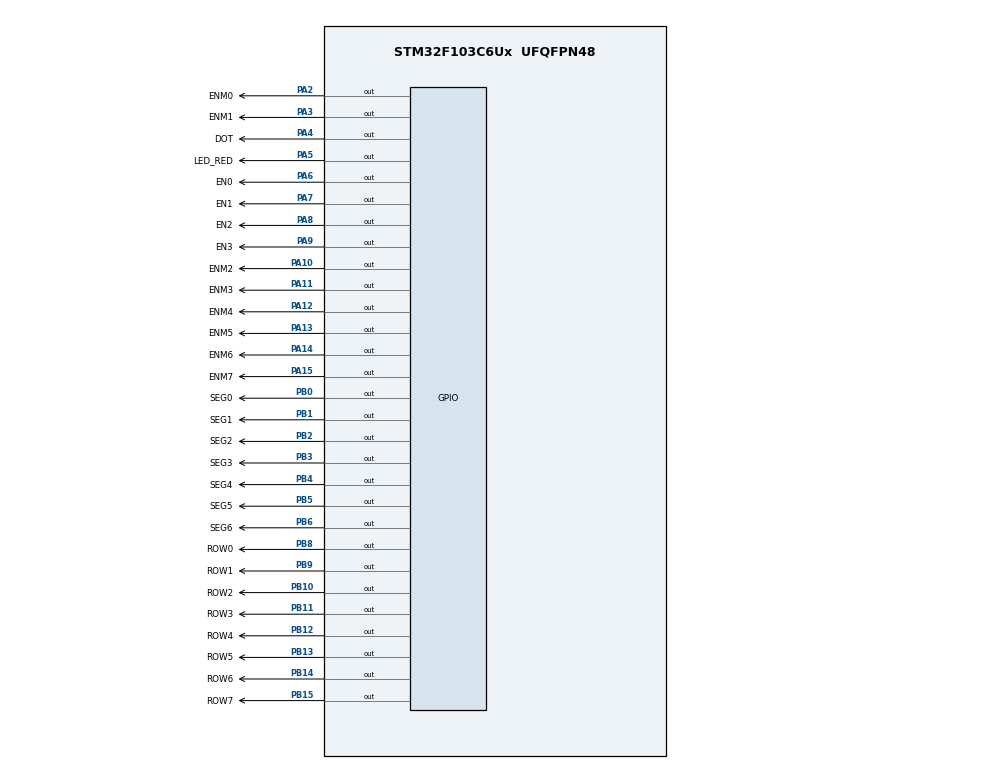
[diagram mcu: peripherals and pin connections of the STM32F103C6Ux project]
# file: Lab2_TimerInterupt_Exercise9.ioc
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Mcu.Family=STM32F1
Mcu.Name=STM32F103C6Ux
Mcu.Package=UFQFPN48
NVIC.PriorityGroup=NVIC_PRIORITYGROUP_4
NVIC.TIM2_IRQn=true\:0\:0\:false\:false\:true\:true\:true
PA10.GPIO_Label=ENM2
PA10.Signal=GPIO_Output
PA11.GPIO_Label=ENM3
PA11.Signal=GPIO_Output
PA12.GPIO_Label=ENM4
PA12.Signal=GPIO_Output
PA13.GPIO_Label=ENM5
PA13.Signal=GPIO_Output
PA14.GPIO_Label=ENM6
PA14.Signal=GPIO_Output
PA15.GPIO_Label=ENM7
PA15.Signal=GPIO_Output
PA2.GPIO_Label=ENM0
PA2.Signal=GPIO_Output
PA3.GPIO_Label=ENM1
PA3.Signal=GPIO_Output
PA4.GPIO_Label=DOT
PA4.Signal=GPIO_Output
PA5.GPIO_Label=LED_RED
PA5.Signal=GPIO_Output
PA6.GPIO_Label=EN0
PA6.Signal=GPIO_Output
PA7.GPIO_Label=EN1
PA7.Signal=GPIO_Output
PA8.GPIO_Label=EN2
PA8.Signal=GPIO_Output
PA9.GPIO_Label=EN3
PA9.Signal=GPIO_Output
PB0.GPIO_Label=SEG0
PB0.Signal=GPIO_Output
PB1.GPIO_Label=SEG1
PB1.Signal=GPIO_Output
PB10.GPIO_Label=ROW2
PB10.Signal=GPIO_Output
PB11.GPIO_Label=ROW3
PB11.Signal=GPIO_Output
PB12.GPIO_Label=ROW4
PB12.Signal=GPIO_Output
PB13.GPIO_Label=ROW5
PB13.Signal=GPIO_Output
PB14.GPIO_Label=ROW6
PB14.Signal=GPIO_Output
PB15.GPIO_Label=ROW7
PB15.Signal=GPIO_Output
PB2.GPIO_Label=SEG2
PB2.Signal=GPIO_Output
PB3.GPIO_Label=SEG3
PB3.Signal=GPIO_Output
PB4.GPIO_Label=SEG4
PB4.Signal=GPIO_Output
PB5.GPIO_Label=SEG5
PB5.Signal=GPIO_Output
PB6.GPIO_Label=SEG6
PB6.Signal=GPIO_Output
PB8.GPIO_Label=ROW0
PB8.Signal=GPIO_Output
PB9.GPIO_Label=ROW1
PB9.Signal=GPIO_Output
ProjectManager.HeapSize=0x200
ProjectManager.StackSize=0x400
ProjectManager.TargetToolchain=STM32CubeIDE
RCC.APB1Freq_Value=8000000
RCC.APB2Freq_Value=8000000
TIM2.Period=9
TIM2.Prescaler=7999
VP_SYS_VS_ND.Mode=No_Debug
VP_TIM2_VS_ClockSourceINT.Mode=Internal
board=custom

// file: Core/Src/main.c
/* USER CODE BEGIN Header */
/**
  ******************************************************************************
  * @file           : main.c
  * @brief          : Main program body
  ******************************************************************************
  * @attention
  *
  * <h2><center>&copy; Copyright (c) 2022 STMicroelectronics.
  * All rights reserved.</center></h2>
  *
  * This software component is licensed by ST under BSD 3-Clause license,
  * the "License"; You may not use this file except in compliance with the
  * License. You may obtain a copy of the License at:
  *                        opensource.org/licenses/BSD-3-Clause
  *
  ******************************************************************************
  */
/* USER CODE END Header */
#include "main.h"

TIM_HandleTypeDef htim2;

void SystemClock_Config(void);
static void MX_GPIO_Init(void);
static void MX_TIM2_Init(void);

/* USER CODE BEGIN 0 */
//counter to change the frequency of 4 seven segment leds to 1Hz
const int COUNTER_SCAN_1HZ = 25;
int timer7seg_counter = 0;
int timer7seg_flag = 0;
int timerClock_counter = 0;
int timerClock_flag = 0;
int timerDOT_counter = 0;
int timerDOT_flag = 0;
int timerRED_counter = 0;
int timerRED_flag = 0;
int timerMatrix_flag = 0;
int timerMatrix_counter = 0;
int TIMER_CYCLE = 10;

void setTimerRED(int duration){
	timerRED_counter = duration / TIMER_CYCLE;
	timerRED_flag = 0;
}

void setTimerClock(int duration){
	timerClock_counter = duration / TIMER_CYCLE;
	timerClock_flag = 0;
}

void setTimerDOT(int duration){
	timerDOT_counter = duration / TIMER_CYCLE;
	timerDOT_flag = 0;
}

void setTimer7SEG(int duration){
	timer7seg_counter = duration / TIMER_CYCLE;
	timer7seg_flag = 0;
}

void setTimerMaxtrix(int duration){
	timerMatrix_counter = duration / TIMER_CYCLE;
	timerMatrix_flag = 0;
}

void timerRun(){
	if (timerClock_counter > 0){
		timerClock_counter--;
		if (timerClock_counter == 0) timerClock_flag = 1;
	}
	if (timerDOT_counter > 0){
		timerDOT_counter--;
		if (timerDOT_counter == 0) timerDOT_flag = 1;
	}
	if (timer7seg_counter > 0){
		timer7seg_counter--;
		if (timer7seg_counter == 0) timer7seg_flag = 1;
	}
	if (timer7seg_counter > 0){
		timerMatrix_counter--;
		if (timerMatrix_counter == 0) timerMatrix_flag = 1;
	}
	if (timerRED_counter > 0){
		timerRED_counter--;
		if (timerRED_counter == 0) timerRED_flag = 1;
	}
}

void display7SEG(int num){
	//outputs: SEG7 -> SEG0
	//outputs with value of 0 (RESET) will be turn on
	//outputs with value of 1 (SET) will be turn off
	if (num == 0){ //100 0000
		HAL_GPIO_WritePin(GPIOB, SEG0_Pin|SEG1_Pin|SEG2_Pin
								|SEG3_Pin|SEG4_Pin|SEG5_Pin, GPIO_PIN_RESET);
		HAL_GPIO_WritePin(GPIOB, SEG6_Pin, GPIO_PIN_SET);
	}
	else if (num == 1){ //111 1001
		HAL_GPIO_WritePin(GPIOB, SEG1_Pin|SEG2_Pin, GPIO_PIN_RESET);
		HAL_GPIO_WritePin(GPIOB, SEG0_Pin|SEG3_Pin|SEG4_Pin
								|SEG5_Pin|SEG6_Pin, GPIO_PIN_SET);
	}
	else if (num == 2){ //010 0100
		HAL_GPIO_WritePin(GPIOB, SEG0_Pin|SEG1_Pin|SEG3_Pin
								|SEG4_Pin|SEG6_Pin, GPIO_PIN_RESET);
		HAL_GPIO_WritePin(GPIOB, SEG2_Pin|SEG5_Pin, GPIO_PIN_SET);
	}
	else if (num == 3){ //011 0000
		HAL_GPIO_WritePin(GPIOB, SEG0_Pin|SEG1_Pin|SEG2_Pin
								|SEG3_Pin|SEG6_Pin, GPIO_PIN_RESET);
		HAL_GPIO_WritePin(GPIOB, SEG4_Pin|SEG5_Pin, GPIO_PIN_SET);
	}
	else if (num == 4){ //001 1001
		HAL_GPIO_WritePin(GPIOB, SEG1_Pin|SEG2_Pin|SEG5_Pin
								|SEG6_Pin, GPIO_PIN_RESET);
		HAL_GPIO_WritePin(GPIOB, SEG0_Pin|SEG3_Pin|SEG4_Pin, GPIO_PIN_SET);
	}
	else if (num == 5){ //001 0010
		HAL_GPIO_WritePin(GPIOB, SEG0_Pin|SEG2_Pin|SEG3_Pin
								|SEG5_Pin|SEG6_Pin, GPIO_PIN_RESET);
		HAL_GPIO_WritePin(GPIOB, SEG1_Pin|SEG4_Pin, GPIO_PIN_SET);
	}
	else if (num == 6){ //000 0010
		HAL_GPIO_WritePin(GPIOB, SEG0_Pin|SEG2_Pin|SEG3_Pin
								|SEG4_Pin|SEG5_Pin|SEG6_Pin, GPIO_PIN_RESET);
		HAL_GPIO_WritePin(GPIOB, SEG1_Pin, GPIO_PIN_SET);
	}
	else if (num == 7){ //111 1000
		HAL_GPIO_WritePin(GPIOB, SEG0_Pin|SEG1_Pin|SEG2_Pin, GPIO_PIN_RESET);
		HAL_GPIO_WritePin(GPIOB, SEG3_Pin|SEG4_Pin|SEG5_Pin
								|SEG6_Pin, GPIO_PIN_SET);
	}
	else if (num == 8){ //000 0000
		HAL_GPIO_WritePin(GPIOB, SEG0_Pin|SEG1_Pin|SEG2_Pin
								|SEG3_Pin|SEG4_Pin|SEG5_Pin
								|SEG6_Pin, GPIO_PIN_RESET);
	}
	else if (num == 9){ //001 0000
		HAL_GPIO_WritePin(GPIOB, SEG0_Pin|SEG1_Pin|SEG2_Pin
								|SEG3_Pin|SEG5_Pin|SEG6_Pin, GPIO_PIN_RESET);
		HAL_GPIO_WritePin(GPIOB, SEG4_Pin, GPIO_PIN_SET);
	}
}

const int MAX_LED = 4;
int index_led = 0;
int led_buffer[4] = {1, 2, 3, 4};
void update7SEG(int index){
	switch (index){
		case 0:
			//turn on first 7seg led only
			HAL_GPIO_WritePin(EN0_GPIO_Port, EN0_Pin, GPIO_PIN_RESET);
			HAL_GPIO_WritePin(EN1_GPIO_Port, EN1_Pin, GPIO_PIN_SET);
			HAL_GPIO_WritePin(EN2_GPIO_Port, EN2_Pin, GPIO_PIN_SET);
			HAL_GPIO_WritePin(EN3_GPIO_Port, EN3_Pin, GPIO_PIN_SET);
			break;
		case 1:
			//turn on second 7seg led only
			HAL_GPIO_WritePin(EN0_GPIO_Port, EN0_Pin, GPIO_PIN_SET);
			HAL_GPIO_WritePin(EN1_GPIO_Port, EN1_Pin, GPIO_PIN_RESET);
			HAL_GPIO_WritePin(EN2_GPIO_Port, EN2_Pin, GPIO_PIN_SET);
			HAL_GPIO_WritePin(EN3_GPIO_Port, EN3_Pin, GPIO_PIN_SET);
			break;
		case 2:
			//turn on third 7seg led only
			HAL_GPIO_WritePin(EN0_GPIO_Port, EN0_Pin, GPIO_PIN_SET);
			HAL_GPIO_WritePin(EN1_GPIO_Port, EN1_Pin, GPIO_PIN_SET);
			HAL_GPIO_WritePin(EN2_GPIO_Port, EN2_Pin, GPIO_PIN_RESET);
			HAL_GPIO_WritePin(EN3_GPIO_Port, EN3_Pin, GPIO_PIN_SET);
			break;
		case 3:
			//turn on fourth 7seg led only
			HAL_GPIO_WritePin(EN0_GPIO_Port, EN0_Pin, GPIO_PIN_SET);
			HAL_GPIO_WritePin(EN1_GPIO_Port, EN1_Pin, GPIO_PIN_SET);
			HAL_GPIO_WritePin(EN2_GPIO_Port, EN2_Pin, GPIO_PIN_SET);
			HAL_GPIO_WritePin(EN3_GPIO_Port, EN3_Pin, GPIO_PIN_RESET);
			break;
		default:
			break;
	}
	//display number according to led_buffer and index
	display7SEG(led_buffer[index]);
}

int hour = 23, minute = 58, second = 50;

void updateClockBuffer(){
	led_buffer[0] = hour / 10;
	led_buffer[1] = hour % 10;
	led_buffer[2] = minute / 10;
	led_buffer[3] = minute % 10;
}

const int MAX_LED_MATRIX = 8;
int index_led_matrix = 0;
// buffer to display "A" character
uint8_t matrix_buffer[8] = {0xFF, 0x01, 0x00, 0xEC
						  , 0xEC, 0x00, 0x01, 0xFF};
void updateLEDMatrix(int index){
	//set 8 high bits of GPIOB's output data register PB8 - PB15 to according buffer (ROW7 -> ROW0)
	GPIOB->ODR = (GPIOB->ODR & 0x00FF) | (matrix_buffer[index] << 8);
	//turn each column on one-by-one
	switch (index){
		case 0:
			//display 1st column
			HAL_GPIO_WritePin(GPIOA, ENM1_Pin|ENM2_Pin|ENM3_Pin
									|ENM4_Pin|ENM5_Pin|ENM6_Pin
									|ENM7_Pin, GPIO_PIN_SET);
			HAL_GPIO_WritePin(ENM0_GPIO_Port, ENM0_Pin, GPIO_PIN_RESET);
			break;
		case 1:
			//display 2nd column
			HAL_GPIO_WritePin(GPIOA, ENM0_Pin|ENM2_Pin|ENM3_Pin
									|ENM4_Pin|ENM5_Pin|ENM6_Pin
									|ENM7_Pin, GPIO_PIN_SET);
			HAL_GPIO_WritePin(ENM1_GPIO_Port, ENM1_Pin, GPIO_PIN_RESET);
			break;
		case 2:
			//display 3rd column
			HAL_GPIO_WritePin(GPIOA, ENM1_Pin|ENM0_Pin|ENM3_Pin
									|ENM4_Pin|ENM5_Pin|ENM6_Pin
									|ENM7_Pin, GPIO_PIN_SET);
			HAL_GPIO_WritePin(ENM2_GPIO_Port, ENM2_Pin, GPIO_PIN_RESET);
			break;
		case 3:
			//display 4th column
			HAL_GPIO_WritePin(GPIOA, ENM1_Pin|ENM2_Pin|ENM0_Pin
									|ENM4_Pin|ENM5_Pin|ENM6_Pin
									|ENM7_Pin, GPIO_PIN_SET);
			HAL_GPIO_WritePin(ENM3_GPIO_Port, ENM3_Pin, GPIO_PIN_RESET);
			break;
		case 4:
			//display 5th column
			HAL_GPIO_WritePin(GPIOA, ENM1_Pin|ENM2_Pin|ENM3_Pin
									|ENM0_Pin|ENM5_Pin|ENM6_Pin
									|ENM7_Pin, GPIO_PIN_SET);
			HAL_GPIO_WritePin(ENM4_GPIO_Port, ENM4_Pin, GPIO_PIN_RESET);
			break;
		case 5:
			//display 6th column
			HAL_GPIO_WritePin(GPIOA, ENM1_Pin|ENM2_Pin|ENM3_Pin
									|ENM4_Pin|ENM0_Pin|ENM6_Pin
									|ENM7_Pin, GPIO_PIN_SET);
			HAL_GPIO_WritePin(ENM5_GPIO_Port, ENM5_Pin, GPIO_PIN_RESET);
			break;
		case 6:
			//display 7th column
			HAL_GPIO_WritePin(GPIOA, ENM1_Pin|ENM2_Pin|ENM3_Pin
									|ENM4_Pin|ENM5_Pin|ENM0_Pin
									|ENM7_Pin, GPIO_PIN_SET);
			HAL_GPIO_WritePin(ENM6_GPIO_Port, ENM6_Pin, GPIO_PIN_RESET);
			break;
		case 7:
			//display 8th column
			HAL_GPIO_WritePin(GPIOA, ENM1_Pin|ENM2_Pin|ENM3_Pin
									|ENM4_Pin|ENM5_Pin|ENM6_Pin
									|ENM0_Pin, GPIO_PIN_SET);
			HAL_GPIO_WritePin(ENM7_GPIO_Port, ENM7_Pin, GPIO_PIN_RESET);
			break;
		default:
			break;
	}
}
/* USER CODE END 0 */

int main(void)
{

  /* MCU Configuration--------------------------------------------------------*/

  /* Reset of all peripherals, Initializes the Flash interface and the Systick. */
  HAL_Init();

  /* Configure the system clock */
  SystemClock_Config();

  /* Initialize all configured peripherals */
  MX_GPIO_Init();
  MX_TIM2_Init();
  /* USER CODE BEGIN 2 */
  HAL_TIM_Base_Start_IT(&htim2);

  setTimerClock(10);
  setTimerDOT(1000);
  setTimer7SEG(10);
  setTimerRED(1000);
  setTimerMaxtrix(10);

  int ledDOT_state = 0;
  int ledRED_state = 0;
  /* USER CODE END 2 */

  /* Infinite loop */
  /* USER CODE BEGIN WHILE */
  while (1)
  {
	  if (timerClock_flag == 1){
		  setTimerClock(1000);
		  second++;
		  if (second >= 60){
			  second = 0;
			  minute++;
		  }
		  if (minute >= 60){
			  minute = 0;
			  hour++;
		  }
		  if (hour >= 24){
			  hour = 0;
		  }
		  updateClockBuffer();
	  }

	  if (timer7seg_flag == 1){
		  //set timer for 1Hz frequency
		  setTimer7SEG(250);
		  //updated index_led to stay in valid range, which is from 0 to 3
		  index_led %= MAX_LED;
		  //update 7seg leds
		  update7SEG(index_led++);
	  }

	  if (timerDOT_flag == 1){
		  //1 second blinking
		  setTimerDOT(1000);
		  ledDOT_state = 1 - ledDOT_state;
	  }

	  if (timerRED_flag == 1){
		  //1 second blinking
		  setTimerRED(1000);
		  ledRED_state = 1 - ledRED_state;
	  }

	  switch (ledDOT_state){
		  case 0:
			  //turn DOT leds on
			  HAL_GPIO_WritePin(DOT_GPIO_Port, DOT_Pin, RESET);
			  break;
		  case 1:
			  //turn DOT leds off
			  HAL_GPIO_WritePin(DOT_GPIO_Port, DOT_Pin, SET);
			  break;
		  default:
			  break;
	  }

	  switch (ledRED_state){
		  case 0:
			  //turn RED led on
			  HAL_GPIO_WritePin(LED_RED_GPIO_Port, LED_RED_Pin, RESET);
			  break;
		  case 1:
			  //turn RED led off
			  HAL_GPIO_WritePin(LED_RED_GPIO_Port, LED_RED_Pin, SET);
			  break;
		  default:
			  break;
	  }

	  if (timerMatrix_flag == 1){
		  setTimerMaxtrix(100);
		  index_led_matrix %= MAX_LED_MATRIX;
		  updateLEDMatrix(index_led_matrix++);
	  }
    /* USER CODE END WHILE */

  }
}

void SystemClock_Config(void)
{
  RCC_OscInitTypeDef RCC_OscInitStruct = {0};
  RCC_ClkInitTypeDef RCC_ClkInitStruct = {0};

  /** Initializes the RCC Oscillators according to the specified parameters
  * in the RCC_OscInitTypeDef structure.
  */
  RCC_OscInitStruct.OscillatorType = RCC_OSCILLATORTYPE_HSI;
  RCC_OscInitStruct.HSIState = RCC_HSI_ON;
  RCC_OscInitStruct.HSICalibrationValue = RCC_HSICALIBRATION_DEFAULT;
  RCC_OscInitStruct.PLL.PLLState = RCC_PLL_NONE;
  if (HAL_RCC_OscConfig(&RCC_OscInitStruct) != HAL_OK)
  {
    Error_Handler();
  }
  /** Initializes the CPU, AHB and APB buses clocks
  */
  RCC_ClkInitStruct.ClockType = RCC_CLOCKTYPE_HCLK|RCC_CLOCKTYPE_SYSCLK
                              |RCC_CLOCKTYPE_PCLK1|RCC_CLOCKTYPE_PCLK2;
  RCC_ClkInitStruct.SYSCLKSource = RCC_SYSCLKSOURCE_HSI;
  RCC_ClkInitStruct.AHBCLKDivider = RCC_SYSCLK_DIV1;
  RCC_ClkInitStruct.APB1CLKDivider = RCC_HCLK_DIV1;
  RCC_ClkInitStruct.APB2CLKDivider = RCC_HCLK_DIV1;

  if (HAL_RCC_ClockConfig(&RCC_ClkInitStruct, FLASH_LATENCY_0) != HAL_OK)
  {
    Error_Handler();
  }
}

static void MX_TIM2_Init(void)
{

  TIM_ClockConfigTypeDef sClockSourceConfig = {0};
  TIM_MasterConfigTypeDef sMasterConfig = {0};

  htim2.Instance = TIM2;
  htim2.Init.Prescaler = 7999;
  htim2.Init.CounterMode = TIM_COUNTERMODE_UP;
  htim2.Init.Period = 9;
  htim2.Init.ClockDivision = TIM_CLOCKDIVISION_DIV1;
  htim2.Init.AutoReloadPreload = TIM_AUTORELOAD_PRELOAD_DISABLE;
  if (HAL_TIM_Base_Init(&htim2) != HAL_OK)
  {
    Error_Handler();
  }
  sClockSourceConfig.ClockSource = TIM_CLOCKSOURCE_INTERNAL;
  if (HAL_TIM_ConfigClockSource(&htim2, &sClockSourceConfig) != HAL_OK)
  {
    Error_Handler();
  }
  sMasterConfig.MasterOutputTrigger = TIM_TRGO_RESET;
  sMasterConfig.MasterSlaveMode = TIM_MASTERSLAVEMODE_DISABLE;
  if (HAL_TIMEx_MasterConfigSynchronization(&htim2, &sMasterConfig) != HAL_OK)
  {
    Error_Handler();
  }

}

static void MX_GPIO_Init(void)
{
  GPIO_InitTypeDef GPIO_InitStruct = {0};

  /* GPIO Ports Clock Enable */
  __HAL_RCC_GPIOA_CLK_ENABLE();
  __HAL_RCC_GPIOB_CLK_ENABLE();

  /*Configure GPIO pin Output Level */
  HAL_GPIO_WritePin(GPIOA, ENM0_Pin|ENM1_Pin|DOT_Pin|LED_RED_Pin
                          |EN0_Pin|EN1_Pin|EN2_Pin|EN3_Pin
                          |ENM2_Pin|ENM3_Pin|ENM4_Pin|ENM5_Pin
                          |ENM6_Pin|ENM7_Pin, GPIO_PIN_RESET);

  /*Configure GPIO pin Output Level */
  HAL_GPIO_WritePin(GPIOB, SEG0_Pin|SEG1_Pin|SEG2_Pin|ROW2_Pin
                          |ROW3_Pin|ROW4_Pin|ROW5_Pin|ROW6_Pin
                          |ROW7_Pin|SEG3_Pin|SEG4_Pin|SEG5_Pin
                          |SEG6_Pin|ROW0_Pin|ROW1_Pin, GPIO_PIN_RESET);

  /*Configure GPIO pins : ENM0_Pin ENM1_Pin DOT_Pin LED_RED_Pin
                           EN0_Pin EN1_Pin EN2_Pin EN3_Pin
                           ENM2_Pin ENM3_Pin ENM4_Pin ENM5_Pin
                           ENM6_Pin ENM7_Pin */
  GPIO_InitStruct.Pin = ENM0_Pin|ENM1_Pin|DOT_Pin|LED_RED_Pin
                          |EN0_Pin|EN1_Pin|EN2_Pin|EN3_Pin
                          |ENM2_Pin|ENM3_Pin|ENM4_Pin|ENM5_Pin
                          |ENM6_Pin|ENM7_Pin;
  GPIO_InitStruct.Mode = GPIO_MODE_OUTPUT_PP;
  GPIO_InitStruct.Pull = GPIO_NOPULL;
  GPIO_InitStruct.Speed = GPIO_SPEED_FREQ_LOW;
  HAL_GPIO_Init(GPIOA, &GPIO_InitStruct);

  /*Configure GPIO pins : SEG0_Pin SEG1_Pin SEG2_Pin ROW2_Pin
                           ROW3_Pin ROW4_Pin ROW5_Pin ROW6_Pin
                           ROW7_Pin SEG3_Pin SEG4_Pin SEG5_Pin
                           SEG6_Pin ROW0_Pin ROW1_Pin */
  GPIO_InitStruct.Pin = SEG0_Pin|SEG1_Pin|SEG2_Pin|ROW2_Pin
                          |ROW3_Pin|ROW4_Pin|ROW5_Pin|ROW6_Pin
                          |ROW7_Pin|SEG3_Pin|SEG4_Pin|SEG5_Pin
                          |SEG6_Pin|ROW0_Pin|ROW1_Pin;
  GPIO_InitStruct.Mode = GPIO_MODE_OUTPUT_PP;
  GPIO_InitStruct.Pull = GPIO_NOPULL;
  GPIO_InitStruct.Speed = GPIO_SPEED_FREQ_LOW;
  HAL_GPIO_Init(GPIOB, &GPIO_InitStruct);

}

/* USER CODE BEGIN 4 */
void HAL_TIM_PeriodElapsedCallback(TIM_HandleTypeDef *htim)
{
	timerRun();
}
/* USER CODE END 4 */

void Error_Handler(void)
{
  __disable_irq();
  while (1)
  {
  }
}

/************************ (C) COPYRIGHT STMicroelectronics *****END OF FILE****/
